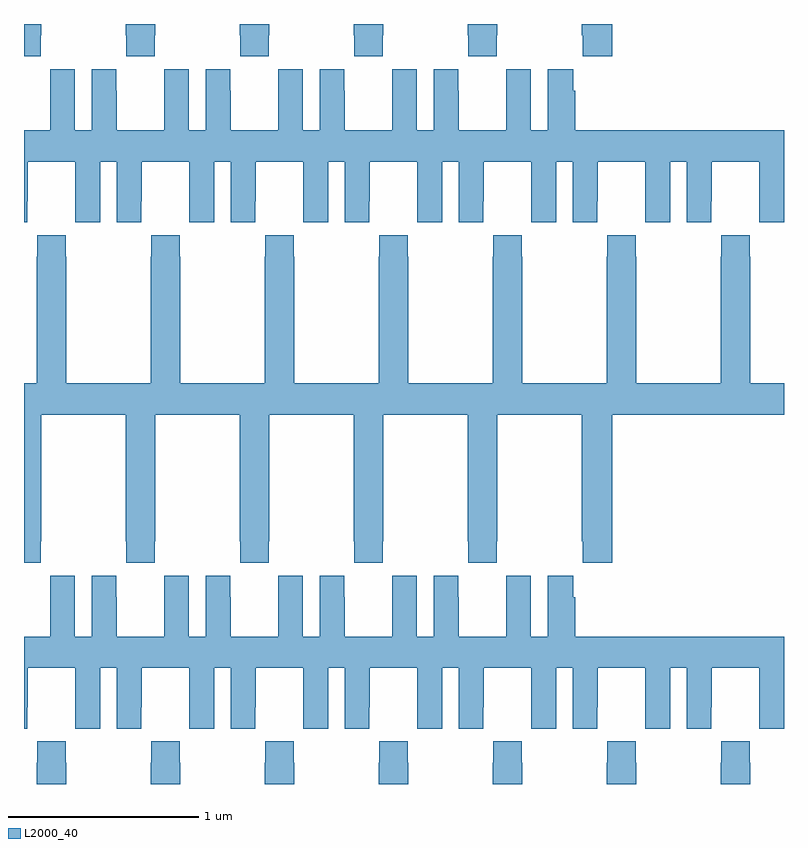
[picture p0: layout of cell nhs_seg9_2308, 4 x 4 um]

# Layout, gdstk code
import gdstk
lib = gdstk.Library(unit=1e-6, precision=1e-09)
def P(c, l, *ps):  # polygons
    for p in ps: c.add(gdstk.Polygon(p, *l))
L2000_40 = (2000, 40)

nhs_seg9_2308 = lib.new_cell('nhs_seg9_2308')
P(nhs_seg9_2308, L2000_40, [(246.095,1174.5),(245.935,1174.5),(245.935,1174.441),(245.941,1174.441),(245.941,1174.329),(246.095,1174.329)],
  [(245.487,1174.441),(245.49,1174.441),(245.49,1174.5),(245.335,1174.5),(245.335,1174.441),(245.337,1174.441),(245.337,1174.329),(245.487,1174.329)],
  [(244.887,1174.441),(244.89,1174.441),(244.89,1174.5),(244.735,1174.5),(244.735,1174.441),(244.737,1174.441),(244.737,1174.329),(244.887,1174.329)],
  [(244.287,1174.441),(244.29,1174.441),(244.29,1174.5),(244.135,1174.5),(244.135,1174.441),(244.137,1174.441),(244.137,1174.329),(244.287,1174.329)],
  [(243.687,1174.441),(243.69,1174.441),(243.69,1174.5),(243.535,1174.5),(243.535,1174.441),(243.537,1174.441),(243.537,1174.329),(243.687,1174.329)],
  [(243.087,1174.441),(243.09,1174.441),(243.09,1174.5),(243,1174.5),(243,1174.329),(243.087,1174.329)],
  [(243.018,1173.568),(243.019,1173.568),(243.019,1173.776),(243.269,1173.776),(243.269,1173.568),(243.27,1173.568),(243.27,1173.456),(243.4,1173.456),(243.4,1173.776),(243.488,1173.776),(243.488,1173.456),(243.618,1173.456),(243.618,1173.568),(243.619,1173.568),(243.619,1173.776),(243.869,1173.776),(243.869,1173.568),(243.87,1173.568),(243.87,1173.456),(244,1173.456),(244,1173.776),(244.088,1173.776),(244.088,1173.456),(244.218,1173.456),(244.218,1173.568),(244.219,1173.568),(244.219,1173.776),(244.469,1173.776),(244.469,1173.568),(244.47,1173.568),(244.47,1173.456),(244.6,1173.456),(244.6,1173.776),(244.688,1173.776),(244.688,1173.456),(244.818,1173.456),(244.818,1173.568),(244.819,1173.568),(244.819,1173.776),(245.069,1173.776),(245.069,1173.568),(245.07,1173.568),(245.07,1173.456),(245.2,1173.456),(245.2,1173.776),(245.288,1173.776),(245.288,1173.456),(245.418,1173.456),(245.418,1173.568),(245.419,1173.568),(245.419,1173.776),(245.669,1173.776),(245.669,1173.568),(245.67,1173.568),(245.67,1173.456),(245.8,1173.456),(245.8,1173.776),(245.888,1173.776),(245.888,1173.456),(246.018,1173.456),(246.018,1173.568),(246.019,1173.568),(246.019,1173.776),(246.269,1173.776),(246.269,1173.568),(246.27,1173.568),(246.27,1173.456),(246.4,1173.456),(246.4,1173.776),(246.488,1173.776),(246.488,1173.456),(246.618,1173.456),(246.618,1173.568),(246.619,1173.568),(246.619,1173.776),(246.869,1173.776),(246.869,1173.568),(246.87,1173.568),(246.87,1173.456),(247,1173.456),(247,1173.94),(245.9,1173.94),(245.9,1174.148),(245.89,1174.148),(245.89,1174.261),(245.756,1174.261),(245.756,1173.94),(245.668,1173.94),(245.668,1174.261),(245.538,1174.261),(245.538,1174.148),(245.537,1174.148),(245.537,1173.94),(245.287,1173.94),(245.287,1174.148),(245.286,1174.148),(245.286,1174.261),(245.156,1174.261),(245.156,1173.94),(245.068,1173.94),(245.068,1174.261),(244.938,1174.261),(244.938,1174.148),(244.937,1174.148),(244.937,1173.94),(244.687,1173.94),(244.687,1174.148),(244.686,1174.148),(244.686,1174.261),(244.556,1174.261),(244.556,1173.94),(244.468,1173.94),(244.468,1174.261),(244.338,1174.261),(244.338,1174.148),(244.337,1174.148),(244.337,1173.94),(244.087,1173.94),(244.087,1174.148),(244.086,1174.148),(244.086,1174.261),(243.956,1174.261),(243.956,1173.94),(243.868,1173.94),(243.868,1174.261),(243.738,1174.261),(243.738,1174.148),(243.737,1174.148),(243.737,1173.94),(243.487,1173.94),(243.487,1174.148),(243.486,1174.148),(243.486,1174.261),(243.356,1174.261),(243.356,1173.94),(243.268,1173.94),(243.268,1174.261),(243.138,1174.261),(243.138,1174.148),(243.137,1174.148),(243.137,1173.94),(243,1173.94),(243,1173.456),(243.018,1173.456)],
  [(245.022,1173.275),(245.019,1173.275),(245.019,1173.388),(244.869,1173.388),(244.869,1173.275),(244.867,1173.275),(244.867,1172.608),(244.422,1172.608),(244.422,1173.275),(244.419,1173.275),(244.419,1173.388),(244.269,1173.388),(244.269,1173.275),(244.267,1173.275),(244.267,1172.608),(243.822,1172.608),(243.822,1173.275),(243.819,1173.275),(243.819,1173.388),(243.669,1173.388),(243.669,1173.275),(243.667,1173.275),(243.667,1172.608),(243.222,1172.608),(243.222,1173.275),(243.219,1173.275),(243.219,1173.388),(243.069,1173.388),(243.069,1173.275),(243.067,1173.275),(243.067,1172.608),(243,1172.608),(243,1171.665),(243.087,1171.665),(243.087,1171.777),(243.09,1171.777),(243.09,1172.444),(243.535,1172.444),(243.535,1171.777),(243.537,1171.777),(243.537,1171.665),(243.687,1171.665),(243.687,1171.777),(243.69,1171.777),(243.69,1172.444),(244.135,1172.444),(244.135,1171.777),(244.137,1171.777),(244.137,1171.665),(244.287,1171.665),(244.287,1171.777),(244.29,1171.777),(244.29,1172.444),(244.735,1172.444),(244.735,1171.777),(244.737,1171.777),(244.737,1171.665),(244.887,1171.665),(244.887,1171.777),(244.89,1171.777),(244.89,1172.444),(245.335,1172.444),(245.335,1171.777),(245.337,1171.777),(245.337,1171.665),(245.487,1171.665),(245.487,1171.777),(245.49,1171.777),(245.49,1172.444),(245.935,1172.444),(245.935,1171.777),(245.941,1171.777),(245.941,1171.665),(246.095,1171.665),(246.095,1172.444),(247,1172.444),(247,1172.608),(246.822,1172.608),(246.822,1173.275),(246.819,1173.275),(246.819,1173.388),(246.669,1173.388),(246.669,1173.275),(246.667,1173.275),(246.667,1172.608),(246.222,1172.608),(246.222,1173.275),(246.219,1173.275),(246.219,1173.388),(246.069,1173.388),(246.069,1173.275),(246.067,1173.275),(246.067,1172.608),(245.622,1172.608),(245.622,1173.275),(245.619,1173.275),(245.619,1173.388),(245.469,1173.388),(245.469,1173.275),(245.467,1173.275),(245.467,1172.608),(245.022,1172.608)],
  [(243.956,1171.276),(243.868,1171.276),(243.868,1171.597),(243.738,1171.597),(243.738,1171.484),(243.737,1171.484),(243.737,1171.276),(243.487,1171.276),(243.487,1171.484),(243.486,1171.484),(243.486,1171.597),(243.356,1171.597),(243.356,1171.276),(243.268,1171.276),(243.268,1171.597),(243.138,1171.597),(243.138,1171.484),(243.137,1171.484),(243.137,1171.276),(243,1171.276),(243,1170.792),(243.018,1170.792),(243.018,1170.904),(243.019,1170.904),(243.019,1171.112),(243.269,1171.112),(243.269,1170.904),(243.27,1170.904),(243.27,1170.792),(243.4,1170.792),(243.4,1171.112),(243.488,1171.112),(243.488,1170.792),(243.618,1170.792),(243.618,1170.904),(243.619,1170.904),(243.619,1171.112),(243.869,1171.112),(243.869,1170.904),(243.87,1170.904),(243.87,1170.792),(244,1170.792),(244,1171.112),(244.088,1171.112),(244.088,1170.792),(244.218,1170.792),(244.218,1170.904),(244.219,1170.904),(244.219,1171.112),(244.469,1171.112),(244.469,1170.904),(244.47,1170.904),(244.47,1170.792),(244.6,1170.792),(244.6,1171.112),(244.688,1171.112),(244.688,1170.792),(244.818,1170.792),(244.818,1170.904),(244.819,1170.904),(244.819,1171.112),(245.069,1171.112),(245.069,1170.904),(245.07,1170.904),(245.07,1170.792),(245.2,1170.792),(245.2,1171.112),(245.288,1171.112),(245.288,1170.792),(245.418,1170.792),(245.418,1170.904),(245.419,1170.904),(245.419,1171.112),(245.669,1171.112),(245.669,1170.904),(245.67,1170.904),(245.67,1170.792),(245.8,1170.792),(245.8,1171.112),(245.888,1171.112),(245.888,1170.792),(246.018,1170.792),(246.018,1170.904),(246.019,1170.904),(246.019,1171.112),(246.269,1171.112),(246.269,1170.904),(246.27,1170.904),(246.27,1170.792),(246.4,1170.792),(246.4,1171.112),(246.488,1171.112),(246.488,1170.792),(246.618,1170.792),(246.618,1170.904),(246.619,1170.904),(246.619,1171.112),(246.869,1171.112),(246.869,1170.904),(246.87,1170.904),(246.87,1170.792),(247,1170.792),(247,1171.276),(245.9,1171.276),(245.9,1171.484),(245.89,1171.484),(245.89,1171.597),(245.756,1171.597),(245.756,1171.276),(245.668,1171.276),(245.668,1171.597),(245.538,1171.597),(245.538,1171.484),(245.537,1171.484),(245.537,1171.276),(245.287,1171.276),(245.287,1171.484),(245.286,1171.484),(245.286,1171.597),(245.156,1171.597),(245.156,1171.276),(245.068,1171.276),(245.068,1171.597),(244.938,1171.597),(244.938,1171.484),(244.937,1171.484),(244.937,1171.276),(244.687,1171.276),(244.687,1171.484),(244.686,1171.484),(244.686,1171.597),(244.556,1171.597),(244.556,1171.276),(244.468,1171.276),(244.468,1171.597),(244.338,1171.597),(244.338,1171.484),(244.337,1171.484),(244.337,1171.276),(244.087,1171.276),(244.087,1171.484),(244.086,1171.484),(244.086,1171.597),(243.956,1171.597)],
  [(246.822,1170.611),(246.819,1170.611),(246.819,1170.724),(246.669,1170.724),(246.669,1170.611),(246.667,1170.611),(246.667,1170.5),(246.822,1170.5)],
  [(246.222,1170.611),(246.219,1170.611),(246.219,1170.724),(246.069,1170.724),(246.069,1170.611),(246.067,1170.611),(246.067,1170.5),(246.222,1170.5)],
  [(245.622,1170.611),(245.619,1170.611),(245.619,1170.724),(245.469,1170.724),(245.469,1170.611),(245.467,1170.611),(245.467,1170.5),(245.622,1170.5)],
  [(244.422,1170.611),(244.419,1170.611),(244.419,1170.724),(244.269,1170.724),(244.269,1170.611),(244.267,1170.611),(244.267,1170.5),(244.422,1170.5)],
  [(243.222,1170.611),(243.219,1170.611),(243.219,1170.724),(243.069,1170.724),(243.069,1170.611),(243.067,1170.611),(243.067,1170.5),(243.222,1170.5)],
  [(243.822,1170.611),(243.819,1170.611),(243.819,1170.724),(243.669,1170.724),(243.669,1170.611),(243.667,1170.611),(243.667,1170.5),(243.822,1170.5)],
  [(245.022,1170.611),(245.019,1170.611),(245.019,1170.724),(244.869,1170.724),(244.869,1170.611),(244.867,1170.611),(244.867,1170.5),(245.022,1170.5)])

lib.write_gds('nhs_seg9_2308.gds')
